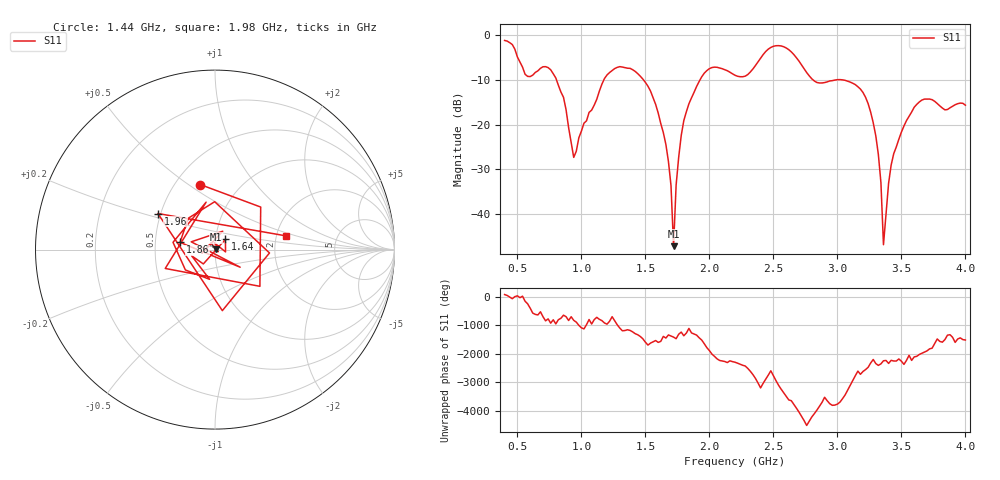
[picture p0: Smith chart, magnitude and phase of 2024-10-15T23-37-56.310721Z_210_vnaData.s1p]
! Created with skrf (http://scikit-rf.org).
# Hz S RI R 50.0
!freq ReS11 ImS11
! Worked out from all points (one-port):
!   181 points, 400 MHz to 4 GHz, reference 50 ohm
!   lowest |S11| = -47.2 dB at 1.72 GHz (marker M1), VSWR 1.01, Z = 50.4 + j0.152 ohm
!   |S11| at or under -10 dB: 805.3 MHz to 1.175 GHz (369.9 MHz wide, 37.4 % of centre); 1.485 GHz to 1.927 GHz (441.5 MHz wide, 25.9 % of centre); 3.043 GHz to end of sweep (the widest 3 of 4)
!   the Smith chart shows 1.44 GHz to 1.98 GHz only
!   S11 on the Smith chart (normalised r, x): 1.44 GHz: 0.66, +0.56; 1.64 GHz: 1.12, +0.13; 1.86 GHz: 0.67, +0.06; 1.96 GHz: 0.48, +0.23; 1.98 GHz: 2.25, +0.41
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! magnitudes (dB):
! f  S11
! 400 MHz  -1.2
! 580 MHz  -9.2
! 760 MHz  -7.7
! 860 MHz  -13.9
! 940 MHz  -27.3
! 1.18 GHz  -9.7
! 1.3 GHz  -7.0
! 1.44 GHz  -8.6
! 1.64 GHz  -21.8
! 1.7 GHz  -33.6
! 1.72 GHz  -47.2
! 1.74 GHz  -33.5
! 1.76 GHz  -27.3
! 1.86 GHz  -14.0
! 1.96 GHz  -8.5
! 1.98 GHz  -7.9
! 2.2 GHz  -9.0
! 2.5 GHz  -2.5
! 2.66 GHz  -4.3
! 2.84 GHz  -10.6
! 3.1 GHz  -10.5
! 3.28 GHz  -19.6
! 3.34 GHz  -32.9
! 3.36 GHz  -46.8
! 3.42 GHz  -29.0
! 3.56 GHz  -18.1
! 3.68 GHz  -14.3
! 4 GHz  -15.6
